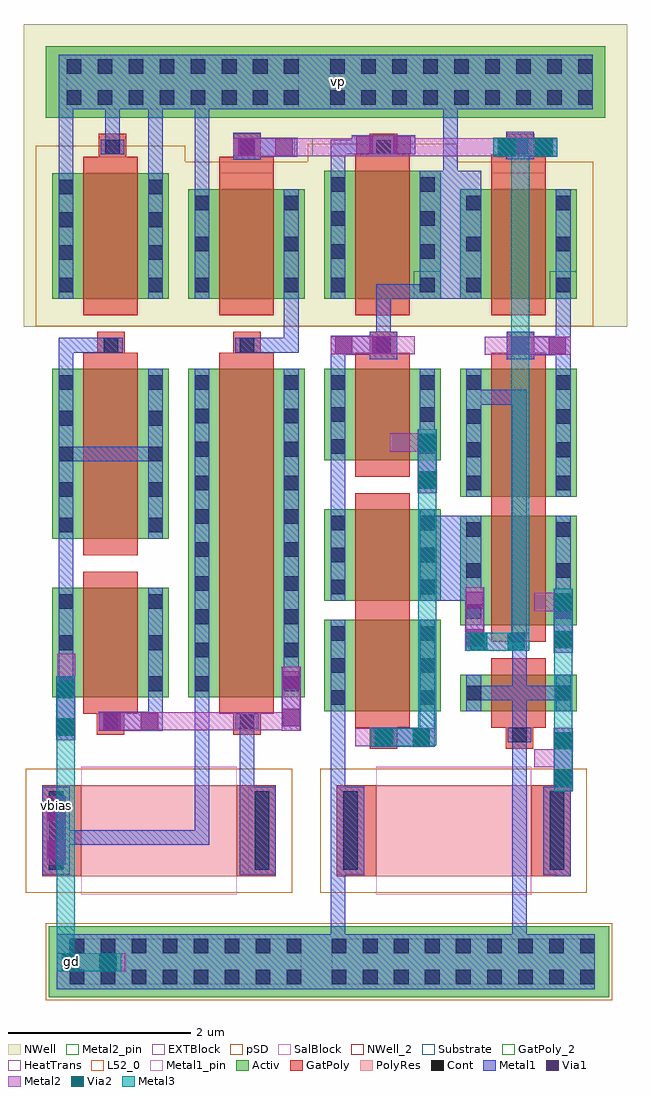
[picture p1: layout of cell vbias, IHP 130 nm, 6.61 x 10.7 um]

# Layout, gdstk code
from math import pi, radians
import gdstk
lib = gdstk.Library(unit=1e-6, precision=1e-09)
def R(c, l, rs):  # rectangles x0, y0, x1, y1
    for r in rs: c.add(gdstk.rectangle(r[:2], r[2:], *l))
def A(c, l, x, y, w, h, nx, ny, dx, dy):  # array of equal rectangles
    R(c, l, [(x+i*dx, y+j*dy, x+i*dx+w, y+j*dy+h) for i in range(nx) for j in range(ny)])
Activ = (1, 0)
GatPoly = (5, 0)
GatPoly_2 = (5, 2)
Cont = (6, 0)
Metal1 = (8, 0)
Metal1_pin = (8, 2)
Metal2 = (10, 0)
Metal2_pin = (10, 2)
pSD = (14, 0)
Via1 = (19, 0)
SalBlock = (28, 0)
Via2 = (29, 0)
Metal3 = (30, 0)
NWell = (31, 0)
NWell_2 = (31, 2)
Substrate = (40, 0)
HeatTrans = (51, 0)
L52_0 = (52, 0)
EXTBlock = (111, 0)
PolyRes = (128, 0)

via_64 = lib.new_cell('Via$64')
R(via_64, GatPoly, [(-0.15,-0.15,0.15,0.15)])
R(via_64, Cont, [(-0.08,-0.08,0.08,0.08)])
R(via_64, Metal1, [(-0.13,-0.08,0.13,0.08)])

pmos_10 = lib.new_cell('pmos$10')
R(pmos_10, Activ, [(0,0,0.3,0.3), (0,0,1.28,1.375), (0.98,0,1.28,0.3)])
R(pmos_10, GatPoly, [(0.34,-0.18,0.94,1.555), (0.34,-0.18,0.94,1.555)])
A(pmos_10, Cont, 0.07, 0.425, 0.16, 0.16, 1, 3, 0, 0.36)
A(pmos_10, Cont, 1.05, 0.425, 0.16, 0.16, 1, 3, 0, 0.36)
R(pmos_10, Cont, [(0.07,0.07,0.23,0.23), (1.05,0.07,1.21,0.23)])
R(pmos_10, Metal1, [(0.07,0,0.23,1.375), (0.07,0,0.23,1.375), (1.05,0,1.21,1.375), (1.05,0,1.21,1.375)])
R(pmos_10, pSD, [(-0.18,-0.3,1.46,1.675)])
R(pmos_10, NWell, [(-0.31,-0.31,1.59,1.685)])
R(pmos_10, HeatTrans, [(0.34,-0.18,0.94,1.555)])
pmos_10.add(gdstk.Label('pmos', (0.64,0.688), layer=63, texttype=0))
pmos_10.add(gdstk.Label('pmos', (0.64,0.688), layer=51, texttype=0))

nmos_18 = lib.new_cell('nmos$18')
R(nmos_18, Activ, [(0,0,0.3,0.3), (0,0,1.28,1.86), (0.98,0,1.28,0.3)])
R(nmos_18, GatPoly, [(0.34,-0.18,0.94,2.04)])
R(nmos_18, GatPoly_2, [(0.34,-0.18,0.94,2.04)])
A(nmos_18, Cont, 0.07, 0.07, 0.16, 0.16, 1, 5, 0, 0.39)
A(nmos_18, Cont, 1.05, 0.07, 0.16, 0.16, 1, 5, 0, 0.39)
R(nmos_18, Metal1, [(0.07,0,0.23,1.86), (1.05,0,1.21,1.86)])
R(nmos_18, Metal1_pin, [(0.07,0,0.23,1.86), (1.05,0,1.21,1.86)])
R(nmos_18, HeatTrans, [(0.34,-0.18,0.94,2.04)])
nmos_18.add(gdstk.Label('nmos', (0.64,0.93), layer=63, texttype=0))
nmos_18.add(gdstk.Label('nmos', (0.64,0.93), layer=51, texttype=0))

via_1_1 = lib.new_cell('Via$1$1')
R(via_1_1, Metal1, [(-0.35,-0.105,0.35,0.105)])
R(via_1_1, Metal2, [(-0.35,-0.1,0.35,0.1)])
R(via_1_1, Via1, [(-0.3,-0.095,-0.11,0.095), (0.11,-0.095,0.3,0.095)])

via_27_1 = lib.new_cell('Via$27$1')
R(via_27_1, Metal1, [(-0.35,-0.105,0.35,0.105)])
R(via_27_1, Metal2, [(-0.35,-0.1,0.35,0.1)])
R(via_27_1, Via1, [(-0.3,-0.095,-0.11,0.095), (0.11,-0.095,0.3,0.095)])

via_23_1 = lib.new_cell('Via$23$1')
R(via_23_1, Metal2, [(-0.35,-0.1,0.35,0.1)])
R(via_23_1, Via2, [(-0.3,-0.095,-0.11,0.095), (0.11,-0.095,0.3,0.095)])
R(via_23_1, Metal3, [(-0.35,-0.1,0.35,0.1)])

via_24_2 = lib.new_cell('Via$24$2')
R(via_24_2, Metal1, [(-0.35,-0.105,0.35,0.105)])
R(via_24_2, Metal2, [(-0.35,-0.1,0.35,0.1)])
R(via_24_2, Via1, [(-0.3,-0.095,-0.11,0.095), (0.11,-0.095,0.3,0.095)])

via_26_1 = lib.new_cell('Via$26$1')
R(via_26_1, Metal1, [(-0.35,-0.105,0.35,0.105)])
R(via_26_1, Metal2, [(-0.35,-0.1,0.35,0.1)])
R(via_26_1, Via1, [(-0.3,-0.095,-0.11,0.095), (0.11,-0.095,0.3,0.095)])

via_25_1 = lib.new_cell('Via$25$1')
R(via_25_1, Metal1, [(-0.35,-0.105,0.35,0.105)])
R(via_25_1, Metal2, [(-0.35,-0.1,0.35,0.1)])
R(via_25_1, Via1, [(-0.3,-0.095,-0.11,0.095), (0.11,-0.095,0.3,0.095)])

ntap1_3 = lib.new_cell('ntap1$3')
R(ntap1_3, Activ, [(0,0,3,0.78)])
A(ntap1_3, Cont, 0.23, 0.14, 0.16, 0.16, 8, 2, 0.34, 0.34)
R(ntap1_3, Metal1, [(0.23,0.09,2.77,0.69)])
R(ntap1_3, Metal1_pin, [(0.23,0.09,2.77,0.69), (0.23,0.14,2.77,0.64)])
R(ntap1_3, NWell, [(-0.24,-0.24,3.24,1.02), (0,0,3,0.78)])
R(ntap1_3, NWell_2, [(0,0,3,0.78)])
ntap1_3.add(gdstk.Label('well', (1.5,0.01), layer=63, texttype=0))
ntap1_3.add(gdstk.Label('well', (1.5,0.01), layer=31, texttype=0))

pmos_2_1 = lib.new_cell('pmos$2$1')
R(pmos_2_1, Activ, [(0,0,0.3,0.3), (0,0,1.28,1.2), (0.98,0,1.28,0.3)])
R(pmos_2_1, GatPoly, [(0.34,-0.18,0.94,1.38), (0.34,-0.18,0.94,1.38)])
A(pmos_2_1, Cont, 0.07, 0.07, 0.16, 0.16, 1, 3, 0, 0.45)
A(pmos_2_1, Cont, 1.05, 0.07, 0.16, 0.16, 1, 3, 0, 0.45)
R(pmos_2_1, Metal1, [(0.07,0,0.23,1.2), (0.07,0,0.23,1.2), (1.05,0,1.21,1.2), (1.05,0,1.21,1.2)])
R(pmos_2_1, pSD, [(-0.18,-0.3,1.46,1.5)])
R(pmos_2_1, NWell, [(-0.31,-0.31,1.59,1.51)])
R(pmos_2_1, HeatTrans, [(0.34,-0.18,0.94,1.38)])
pmos_2_1.add(gdstk.Label('pmos', (0.64,0.6), layer=63, texttype=0))
pmos_2_1.add(gdstk.Label('pmos', (0.64,0.6), layer=51, texttype=0))

ptap1_5 = lib.new_cell('ptap1$5')
R(ptap1_5, Activ, [(0,0,3,0.78)])
A(ptap1_5, Cont, 0.23, 0.14, 0.16, 0.16, 8, 2, 0.34, 0.34)
R(ptap1_5, Metal1, [(0.23,0.09,2.77,0.69), (0.23,0.14,2.77,0.64)])
R(ptap1_5, Metal1_pin, [(0.23,0.14,2.77,0.64)])
R(ptap1_5, pSD, [(-0.03,-0.03,3.03,0.81)])
R(ptap1_5, Substrate, [(0,0,3,0.78)])
ptap1_5.add(gdstk.Label('sub!', (1.5,0.01), layer=63, texttype=0))
ptap1_5.add(gdstk.Label('sub!', (1.5,0.01), layer=40, texttype=0))

rppd_2 = lib.new_cell('rppd$2')
R(rppd_2, GatPoly, [(0,-0.43,1,-0.2), (0,-0.2,1,0), (0,1.7,1,1.9), (0,1.9,1,2.13)])
R(rppd_2, Cont, [(0.07,-0.36,0.93,-0.2), (0.07,1.9,0.93,2.06)])
R(rppd_2, Metal1, [(0.02,-0.43,0.98,-0.13), (0.02,1.83,0.98,2.13)])
R(rppd_2, Metal1_pin, [(0.02,-0.43,0.98,-0.13), (0.02,1.83,0.98,2.13)])
R(rppd_2, pSD, [(-0.18,-0.61,1.18,0), (-0.18,0,1.18,1.7), (-0.18,1.7,1.18,2.31)])
R(rppd_2, SalBlock, [(-0.2,0,1.2,1.7)])
R(rppd_2, L52_0, [(0,0,1,1.7)])
R(rppd_2, EXTBlock, [(-0.18,-0.61,1.18,0), (-0.2,0,1.2,1.7), (-0.18,1.7,1.18,2.31)])
R(rppd_2, PolyRes, [(0,0,1,1.7)])
rppd_2.add(gdstk.Label('rppd r=509.364', (0.5,0.85), layer=63, texttype=0))
rppd_2.add(gdstk.Label('rppd', (0.5,0.85), layer=52, texttype=0))

nmos_4_1 = lib.new_cell('nmos$4$1')
R(nmos_4_1, Activ, [(0,0,0.3,0.3), (0,0,1.28,1.2), (0.98,0,1.28,0.3)])
R(nmos_4_1, GatPoly, [(0.34,-0.18,0.94,1.38)])
R(nmos_4_1, GatPoly_2, [(0.34,-0.18,0.94,1.38)])
A(nmos_4_1, Cont, 0.07, 0.07, 0.16, 0.16, 1, 3, 0, 0.45)
A(nmos_4_1, Cont, 1.05, 0.07, 0.16, 0.16, 1, 3, 0, 0.45)
R(nmos_4_1, Metal1, [(0.07,0,0.23,1.2), (1.05,0,1.21,1.2)])
R(nmos_4_1, Metal1_pin, [(0.07,0,0.23,1.2), (1.05,0,1.21,1.2)])
R(nmos_4_1, HeatTrans, [(0.34,-0.18,0.94,1.38)])
nmos_4_1.add(gdstk.Label('nmos', (0.64,0.6), layer=63, texttype=0))
nmos_4_1.add(gdstk.Label('nmos', (0.64,0.6), layer=51, texttype=0))

nmos_5_1 = lib.new_cell('nmos$5$1')
R(nmos_5_1, Activ, [(0,0,0.3,0.3), (0,0,1.28,3.6), (0.98,0,1.28,0.3)])
R(nmos_5_1, GatPoly, [(0.34,-0.18,0.94,3.78)])
R(nmos_5_1, GatPoly_2, [(0.34,-0.18,0.94,3.78)])
A(nmos_5_1, Cont, 0.07, 0.07, 0.16, 0.16, 1, 3, 0, 0.365)
A(nmos_5_1, Cont, 1.05, 0.07, 0.16, 0.16, 1, 3, 0, 0.365)
A(nmos_5_1, Cont, 0.07, 1.17, 0.16, 0.16, 1, 3, 0, 0.365)
A(nmos_5_1, Cont, 1.05, 1.17, 0.16, 0.16, 1, 3, 0, 0.365)
A(nmos_5_1, Cont, 0.07, 2.27, 0.16, 0.16, 1, 3, 0, 0.365)
A(nmos_5_1, Cont, 1.05, 2.27, 0.16, 0.16, 1, 3, 0, 0.365)
R(nmos_5_1, Cont, [(0.07,3.37,0.23,3.53), (1.05,3.37,1.21,3.53)])
R(nmos_5_1, Metal1, [(0.07,0,0.23,3.6), (1.05,0,1.21,3.6)])
R(nmos_5_1, Metal1_pin, [(0.07,0,0.23,3.6), (1.05,0,1.21,3.6)])
R(nmos_5_1, HeatTrans, [(0.34,-0.18,0.94,3.78)])
nmos_5_1.add(gdstk.Label('nmos', (0.64,1.8), layer=63, texttype=0))
nmos_5_1.add(gdstk.Label('nmos', (0.64,1.8), layer=51, texttype=0))

via_16 = lib.new_cell('Via$16')
R(via_16, Metal2, [(-0.35,-0.1,0.35,0.1)])
R(via_16, Via2, [(-0.3,-0.095,-0.11,0.095), (0.11,-0.095,0.3,0.095)])
R(via_16, Metal3, [(-0.35,-0.1,0.35,0.1)])

via_17 = lib.new_cell('Via$17')
R(via_17, Metal1, [(-0.35,-0.105,0.35,0.105)])
R(via_17, Metal2, [(-0.35,-0.1,0.35,0.1)])
R(via_17, Via1, [(-0.3,-0.095,-0.11,0.095), (0.11,-0.095,0.3,0.095)])

nmos_6 = lib.new_cell('nmos$6')
R(nmos_6, Activ, [(0,0,0.3,0.3), (0,0,1.28,1.2), (0.98,0,1.28,0.3)])
R(nmos_6, GatPoly, [(0.34,-0.18,0.94,1.38)])
R(nmos_6, GatPoly_2, [(0.34,-0.18,0.94,1.38)])
A(nmos_6, Cont, 0.07, 0.07, 0.16, 0.16, 1, 3, 0, 0.45)
A(nmos_6, Cont, 1.05, 0.07, 0.16, 0.16, 1, 3, 0, 0.45)
R(nmos_6, Metal1, [(0.07,0,0.23,1.2), (1.05,0,1.21,1.2)])
R(nmos_6, Metal1_pin, [(0.07,0,0.23,1.2), (1.05,0,1.21,1.2)])
R(nmos_6, HeatTrans, [(0.34,-0.18,0.94,1.38)])
nmos_6.add(gdstk.Label('nmos', (0.64,0.6), layer=63, texttype=0))
nmos_6.add(gdstk.Label('nmos', (0.64,0.6), layer=51, texttype=0))

via_18 = lib.new_cell('Via$18')
R(via_18, Metal1, [(-0.35,-0.105,0.35,0.105)])
R(via_18, Metal2, [(-0.35,-0.1,0.35,0.1)])
R(via_18, Via1, [(-0.3,-0.095,-0.11,0.095), (0.11,-0.095,0.3,0.095)])

via_19 = lib.new_cell('Via$19')
R(via_19, Metal1, [(-0.35,-0.105,0.35,0.105)])
R(via_19, Metal2, [(-0.35,-0.1,0.35,0.1)])
R(via_19, Via1, [(-0.3,-0.095,-0.11,0.095), (0.11,-0.095,0.3,0.095)])

pmos_1 = lib.new_cell('pmos$1')
R(pmos_1, Activ, [(0,0,0.3,0.3), (0,0,1.28,1.4), (0.98,0,1.28,0.3)])
R(pmos_1, GatPoly, [(0.34,-0.18,0.94,1.58), (0.34,-0.18,0.94,1.58)])
A(pmos_1, Cont, 0.07, 0.07, 0.16, 0.16, 1, 3, 0, 0.365)
A(pmos_1, Cont, 1.05, 0.07, 0.16, 0.16, 1, 3, 0, 0.365)
R(pmos_1, Cont, [(0.07,1.17,0.23,1.33), (1.05,1.17,1.21,1.33)])
R(pmos_1, Metal1, [(0.07,0,0.23,1.4), (0.07,0,0.23,1.4), (1.05,0,1.21,1.4), (1.05,0,1.21,1.4)])
R(pmos_1, pSD, [(-0.18,-0.3,1.46,1.7)])
R(pmos_1, NWell, [(-0.31,-0.31,1.59,1.71)])
R(pmos_1, Substrate, [(0.98,0,1.28,0.3)])
R(pmos_1, HeatTrans, [(0.34,-0.18,0.94,1.58)])
pmos_1.add(gdstk.Label('pmos', (0.64,0.7), layer=63, texttype=0))
pmos_1.add(gdstk.Label('pmos', (0.64,0.7), layer=51, texttype=0))

via_11 = lib.new_cell('Via$11')
R(via_11, Metal1, [(-0.35,-0.105,0.35,0.105)])
R(via_11, Metal2, [(-0.35,-0.1,0.35,0.1)])
R(via_11, Via1, [(-0.3,-0.095,-0.11,0.095), (0.11,-0.095,0.3,0.095)])

nmos_1 = lib.new_cell('nmos$1')
R(nmos_1, Activ, [(0,0,0.3,0.3), (0,0,1.28,1), (0.98,0,1.28,0.3)])
R(nmos_1, GatPoly, [(0.34,-0.18,0.94,1.18)])
R(nmos_1, GatPoly_2, [(0.34,-0.18,0.94,1.18)])
A(nmos_1, Cont, 0.07, 0.07, 0.16, 0.16, 1, 3, 0, 0.35)
A(nmos_1, Cont, 1.05, 0.07, 0.16, 0.16, 1, 3, 0, 0.35)
R(nmos_1, Metal1, [(0.07,0,0.23,1), (1.05,0,1.21,1)])
R(nmos_1, Metal1_pin, [(0.07,0,0.23,1), (1.05,0,1.21,1)])
R(nmos_1, HeatTrans, [(0.34,-0.18,0.94,1.18)])
nmos_1.add(gdstk.Label('nmos', (0.64,0.5), layer=63, texttype=0))
nmos_1.add(gdstk.Label('nmos', (0.64,0.5), layer=51, texttype=0))

via_14 = lib.new_cell('Via$14')
R(via_14, Metal2, [(-0.35,-0.1,0.35,0.1)])
R(via_14, Via2, [(-0.3,-0.095,-0.11,0.095), (0.11,-0.095,0.3,0.095)])
R(via_14, Metal3, [(-0.35,-0.1,0.35,0.1)])

via_21 = lib.new_cell('Via$21')
R(via_21, Metal1, [(-0.35,-0.105,0.35,0.105)])
R(via_21, Metal2, [(-0.35,-0.1,0.35,0.1)])
R(via_21, Via1, [(-0.3,-0.095,-0.11,0.095), (0.11,-0.095,0.3,0.095)])

pmos_3 = lib.new_cell('pmos$3')
R(pmos_3, Activ, [(0,0,0.3,0.3), (0,0,1.28,1.2), (0.98,0,1.28,0.3)])
R(pmos_3, GatPoly, [(0.34,-0.18,0.94,1.38), (0.34,-0.18,0.94,1.38)])
A(pmos_3, Cont, 0.07, 0.07, 0.16, 0.16, 1, 3, 0, 0.45)
A(pmos_3, Cont, 1.05, 0.07, 0.16, 0.16, 1, 3, 0, 0.45)
R(pmos_3, Metal1, [(0.07,0,0.23,1.2), (0.07,0,0.23,1.2), (1.05,0,1.21,1.2), (1.05,0,1.21,1.2)])
R(pmos_3, pSD, [(-0.18,-0.3,1.46,1.5)])
R(pmos_3, NWell, [(-0.31,-0.31,1.59,1.51)])
R(pmos_3, Substrate, [(0.98,0,1.28,0.3)])
R(pmos_3, HeatTrans, [(0.34,-0.18,0.94,1.38)])
pmos_3.add(gdstk.Label('pmos', (0.64,0.6), layer=63, texttype=0))
pmos_3.add(gdstk.Label('pmos', (0.64,0.6), layer=51, texttype=0))

ptap1_1 = lib.new_cell('ptap1$1')
R(ptap1_1, Activ, [(0,0,3.2,0.78)])
A(ptap1_1, Cont, 0.16, 0.14, 0.16, 0.16, 9, 2, 0.34, 0.34)
R(ptap1_1, Metal1, [(0.16,0.09,3.04,0.69), (0.16,0.14,3.04,0.64)])
R(ptap1_1, Metal1_pin, [(0.16,0.14,3.04,0.64)])
R(ptap1_1, pSD, [(-0.03,-0.03,3.23,0.81)])
R(ptap1_1, Substrate, [(0,0,3.2,0.78)])
ptap1_1.add(gdstk.Label('sub!', (1.6,0.01), layer=63, texttype=0))
ptap1_1.add(gdstk.Label('sub!', (1.6,0.01), layer=40, texttype=0))

nmos_2 = lib.new_cell('nmos$2')
R(nmos_2, Activ, [(0,0,0.3,0.3), (0,0,1.28,1.4), (0.98,0,1.28,0.3)])
R(nmos_2, GatPoly, [(0.34,-0.18,0.94,1.58)])
R(nmos_2, GatPoly_2, [(0.34,-0.18,0.94,1.58)])
A(nmos_2, Cont, 0.07, 0.07, 0.16, 0.16, 1, 3, 0, 0.365)
A(nmos_2, Cont, 1.05, 0.07, 0.16, 0.16, 1, 3, 0, 0.365)
R(nmos_2, Cont, [(0.07,1.17,0.23,1.33), (1.05,1.17,1.21,1.33)])
R(nmos_2, Metal1, [(0.07,0,0.23,1.4), (1.05,0,1.21,1.4)])
R(nmos_2, Metal1_pin, [(0.07,0,0.23,1.4), (1.05,0,1.21,1.4)])
R(nmos_2, HeatTrans, [(0.34,-0.18,0.94,1.58)])
nmos_2.add(gdstk.Label('nmos', (0.64,0.7), layer=63, texttype=0))
nmos_2.add(gdstk.Label('nmos', (0.64,0.7), layer=51, texttype=0))

via_12 = lib.new_cell('Via$12')
R(via_12, Metal1, [(-0.35,-0.105,0.35,0.105)])
R(via_12, Metal2, [(-0.35,-0.1,0.35,0.1)])
R(via_12, Via1, [(-0.3,-0.095,-0.11,0.095), (0.11,-0.095,0.3,0.095)])

via_2 = lib.new_cell('Via$2')
R(via_2, GatPoly, [(-0.15,-0.15,0.15,0.15)])
R(via_2, Cont, [(-0.08,-0.08,0.08,0.08)])
R(via_2, Metal1, [(-0.13,-0.08,0.13,0.08)])

nmos_3 = lib.new_cell('nmos$3')
R(nmos_3, Activ, [(0,0,0.3,0.3), (0,0,1.28,0.4), (0.98,0,1.28,0.3)])
R(nmos_3, GatPoly, [(0.34,-0.18,0.94,0.58)])
R(nmos_3, GatPoly_2, [(0.34,-0.18,0.94,0.58)])
R(nmos_3, Cont, [(0.07,0.12,0.23,0.28), (1.05,0.12,1.21,0.28)])
R(nmos_3, Metal1, [(0.07,0,0.23,0.4), (1.05,0,1.21,0.4)])
R(nmos_3, Metal1_pin, [(0.07,0,0.23,0.4), (1.05,0,1.21,0.4)])
R(nmos_3, HeatTrans, [(0.34,-0.18,0.94,0.58)])
nmos_3.add(gdstk.Label('nmos', (0.64,0.2), layer=63, texttype=0))
nmos_3.add(gdstk.Label('nmos', (0.64,0.2), layer=51, texttype=0))

via_15 = lib.new_cell('Via$15')
R(via_15, Metal1, [(-0.35,-0.105,0.35,0.105)])
R(via_15, Metal2, [(-0.35,-0.1,0.35,0.1)])
R(via_15, Via1, [(-0.3,-0.095,-0.11,0.095), (0.11,-0.095,0.3,0.095)])

rppd_1 = lib.new_cell('rppd$1')
R(rppd_1, GatPoly, [(0,-0.43,1,-0.2), (0,-0.2,1,0), (0,1.7,1,1.9), (0,1.9,1,2.13)])
R(rppd_1, Cont, [(0.07,-0.36,0.93,-0.2), (0.07,1.9,0.93,2.06)])
R(rppd_1, Metal1, [(0.02,-0.43,0.98,-0.13), (0.02,1.83,0.98,2.13)])
R(rppd_1, Metal1_pin, [(0.02,-0.43,0.98,-0.13), (0.02,1.83,0.98,2.13)])
R(rppd_1, pSD, [(-0.18,-0.61,1.18,0), (-0.18,0,1.18,1.7), (-0.18,1.7,1.18,2.31)])
R(rppd_1, SalBlock, [(-0.2,0,1.2,1.7)])
R(rppd_1, L52_0, [(0,0,1,1.7)])
R(rppd_1, EXTBlock, [(-0.18,-0.61,1.18,0), (-0.2,0,1.2,1.7), (-0.18,1.7,1.18,2.31)])
R(rppd_1, PolyRes, [(0,0,1,1.7)])
rppd_1.add(gdstk.Label('rppd r=509.364', (0.5,0.85), layer=63, texttype=0))
rppd_1.add(gdstk.Label('rppd', (0.5,0.85), layer=52, texttype=0))

ntap1_1 = lib.new_cell('ntap1$1')
R(ntap1_1, Activ, [(0,0,3.15,0.78)])
A(ntap1_1, Cont, 0.135, 0.14, 0.16, 0.16, 9, 2, 0.34, 0.34)
R(ntap1_1, Metal1, [(0.135,0.09,3.015,0.69)])
R(ntap1_1, Metal1_pin, [(0.135,0.09,3.015,0.69), (0.135,0.14,3.015,0.64)])
R(ntap1_1, NWell, [(-0.24,-0.24,3.39,1.02), (0,0,3.15,0.78)])
R(ntap1_1, NWell_2, [(0,0,3.15,0.78)])
ntap1_1.add(gdstk.Label('well', (1.575,0.01), layer=63, texttype=0))
ntap1_1.add(gdstk.Label('well', (1.575,0.01), layer=31, texttype=0))

via_20 = lib.new_cell('Via$20')
R(via_20, Metal1, [(-0.35,-0.105,0.35,0.105)])
R(via_20, Metal2, [(-0.35,-0.1,0.35,0.1)])
R(via_20, Via1, [(-0.3,-0.095,-0.11,0.095), (0.11,-0.095,0.3,0.095)])

curr_source = lib.new_cell('curr_source')
R(curr_source, GatPoly, [(3.695,6.615,4.295,6.815)])
R(curr_source, Metal1, [(1.935,-1.07,2.305,-0.115), (2.915,1.925,3.585,2.855), (2.365,4.57,2.665,4.87), (3.865,4.57,4.165,4.87), (2.915,5.235,3.585,6.635), (3.86,6.765,4.16,7.065)])
R(curr_source, Metal1_pin, [(1.95,-2.14,2.15,-1.94), (1.95,7.545,2.08,7.675)])
R(curr_source, Metal2, [(3.41,1.375,3.65,1.575)])
R(curr_source, Metal2_pin, [(1.54,6.795,1.74,6.995)])
R(curr_source, NWell, [(1.555,4.925,5.185,8.245)])
curr_source.add(gdstk.FlexPath([(4.485,1.88),(4.485,1.705)], 0.16, ends="flush", simple_path=True, layer=8, datatype=0))  # Metal1
curr_source.add(gdstk.FlexPath([(2.365,6.92),(2.515,6.92)], 0.16, ends="flush", simple_path=True, layer=8, datatype=0))  # Metal1
curr_source.add(gdstk.FlexPath([(4.07,6.895),(4.07,6.895)], 0.16, ends="flush", simple_path=True, layer=8, datatype=0))  # Metal1
curr_source.add(gdstk.FlexPath([(2.725,0.43),(2.725,0.43)], 0.16, ends="flush", simple_path=True, layer=8, datatype=0))  # Metal1
curr_source.add(gdstk.FlexPath([(2.015,-1.53),(2.015,-2.33)], 0.16, ends="flush", simple_path=True, layer=8, datatype=0))  # Metal1
curr_source.add(gdstk.FlexPath([(4.005,-1.68),(4.005,-2.33)], 0.16, ends="flush", simple_path=True, layer=8, datatype=0))  # Metal1
curr_source.add(gdstk.FlexPath([(4.485,0.335),(4.485,-1.095)], 0.16, ends="flush", simple_path=True, layer=8, datatype=0))  # Metal1
curr_source.add(gdstk.FlexPath([(3.995,0.915),(3.585,0.915),(3.585,0.915)], 0.16, ends="flush", simple_path=True, layer=8, datatype=0))  # Metal1
curr_source.add(gdstk.FlexPath([(3.995,0.915),(4.405,0.915)], 0.16, ends="flush", simple_path=True, layer=8, datatype=0))  # Metal1
curr_source.add(gdstk.FlexPath([(2.015,2.925),(2.015,3.465)], 0.16, ends="flush", simple_path=True, layer=8, datatype=0))  # Metal1
curr_source.add(gdstk.FlexPath([(4.005,-0.815),(4.005,-1.775)], 0.16, ends="flush", simple_path=True, layer=8, datatype=0))  # Metal1
curr_source.add(gdstk.FlexPath([(2.015,4.465),(2.015,4.62)], 0.16, ends="flush", simple_path=True, layer=8, datatype=0))  # Metal1
curr_source.add(gdstk.FlexPath([(2.645,0.455),(3.075,0.455)], 0.16, ends="flush", simple_path=True, layer=8, datatype=0))  # Metal1
curr_source.add(gdstk.FlexPath([(3.25,6.635),(3.25,7.315)], 0.16, ends="flush", simple_path=True, layer=8, datatype=0))  # Metal1
curr_source.add(gdstk.FlexPath([(2.995,0.715),(2.995,0.375)], 0.16, ends="flush", simple_path=True, layer=8, datatype=0))  # Metal1
curr_source.add(gdstk.FlexPath([(4.485,4.72),(4.485,4.72)], 0.16, ends="flush", simple_path=True, layer=8, datatype=0))  # Metal1
curr_source.add(gdstk.FlexPath([(2.515,4.725),(2.515,4.725)], 0.16, ends="flush", simple_path=True, layer=8, datatype=0))  # Metal1
curr_source.add(gdstk.FlexPath([(2.015,6.635),(2.015,6.885),(2.015,6.89),(2.015,6.895),(2.385,6.895),(2.385,6.895),(2.385,6.895)], 0.16, ends="flush", simple_path=True, layer=8, datatype=0))  # Metal1
curr_source.add(gdstk.FlexPath([(2.515,5.15),(2.515,5.395)], 0.16, ends="flush", simple_path=True, layer=8, datatype=0))  # Metal1
curr_source.add(gdstk.FlexPath([(4.485,5.235),(4.485,4.48)], 0.16, ends="flush", simple_path=True, layer=8, datatype=0))  # Metal1
curr_source.add(gdstk.FlexPath([(4.485,4.49),(4.485,4.465)], 0.16, ends="flush", simple_path=True, layer=8, datatype=0))  # Metal1
curr_source.add(gdstk.FlexPath([(2.515,4.805),(2.515,5.2)], 0.16, ends="flush", simple_path=True, layer=8, datatype=0))  # Metal1
curr_source.add(gdstk.FlexPath([(3.575,4.155),(4.005,4.155),(4.005,-0.965)], 0.16, ends="flush", simple_path=True, layer=8, datatype=0))  # Metal1
curr_source.add(gdstk.FlexPath([(2.015,0.715),(2.015,-1.725),(2.015,-1.725)], 0.16, ends="flush", simple_path=True, layer=8, datatype=0))  # Metal1
curr_source.add(gdstk.FlexPath([(2.915,5.315),(2.435,5.315)], 0.16, ends="flush", simple_path=True, layer=8, datatype=0))  # Metal1
curr_source.add(gdstk.FlexPath([(3.505,1.655),(3.505,1.575)], 0.16, ends="flush", simple_path=True, layer=8, datatype=0))  # Metal1
curr_source.add(gdstk.FlexPath([(2.995,3.455),(2.995,3.455)], 0.2, ends="flush", simple_path=True, layer=10, datatype=0))  # Metal2
curr_source.add(gdstk.FlexPath([(2.995,3.66),(2.585,3.66)], 0.2, ends="flush", simple_path=True, layer=10, datatype=0))  # Metal2
curr_source.add(gdstk.FlexPath([(4.565,4.72),(3.625,4.72)], 0.2, ends="flush", simple_path=True, layer=10, datatype=0))  # Metal2
curr_source.add(gdstk.FlexPath([(4.485,1.705),(4.485,1.705)], 0.2, ends="flush", simple_path=True, layer=10, datatype=0))  # Metal2
curr_source.add(gdstk.FlexPath([(4.485,0.185),(4.485,0.185)], 0.2, ends="flush", simple_path=True, layer=10, datatype=0))  # Metal2
curr_source.add(gdstk.FlexPath([(4.485,0.2),(4.17,0.2)], 0.2, ends="flush", simple_path=True, layer=10, datatype=0))  # Metal2
curr_source.add(gdstk.FlexPath([(4.485,1.91),(4.165,1.91)], 0.2, ends="flush", simple_path=True, layer=10, datatype=0))  # Metal2
curr_source.add(gdstk.FlexPath([(4.07,6.895),(4.07,6.895)], 0.16, ends="flush", simple_path=True, layer=10, datatype=0))  # Metal2
curr_source.add(gdstk.FlexPath([(2.725,0.43),(2.725,0.43)], 0.2, ends="flush", simple_path=True, layer=10, datatype=0))  # Metal2
curr_source.add(gdstk.FlexPath([(3.065,0.43),(2.205,0.43)], 0.2, ends="flush", simple_path=True, layer=10, datatype=0))  # Metal2
curr_source.add(gdstk.FlexPath([(2.515,4.725),(2.86,4.725)], 0.2, ends="flush", simple_path=True, layer=10, datatype=0))  # Metal2
curr_source.add(gdstk.FlexPath([(4.015,1.475),(3.65,1.475)], 0.2, ends="flush", simple_path=True, layer=10, datatype=0))  # Metal2
curr_source.add(gdstk.FlexPath([(2.515,6.895),(1.54,6.895)], 0.2, ends="flush", simple_path=True, layer=10, datatype=0))  # Metal2
curr_source.add(gdstk.FlexPath([(2.515,6.895),(4.015,6.895)], 0.2, ends="flush", simple_path=True, layer=10, datatype=0))  # Metal2
curr_source.add(gdstk.FlexPath([(2.995,3.535),(2.995,0.335)], 0.2, ends="flush", simple_path=True, layer=30, datatype=0))  # Metal3
curr_source.add(gdstk.FlexPath([(4.485,1.48),(4.485,0.335)], 0.2, ends="flush", simple_path=True, layer=30, datatype=0))  # Metal3
curr_source.add(gdstk.FlexPath([(4.015,1.58),(4.015,1.475)], 0.2, ends="flush", simple_path=True, layer=30, datatype=0))  # Metal3
curr_source.add(gdstk.FlexPath([(4.015,6.895),(4.015,1.58)], 0.2, ends="flush", simple_path=True, layer=30, datatype=0))  # Metal3
curr_source.add(gdstk.Reference(via_16, (2.725,0.43)))
curr_source.add(gdstk.Reference(via_16, (4.07,6.895)))
curr_source.add(gdstk.Reference(via_17, (4.07,6.895)))
curr_source.add(gdstk.Reference(nmos_6, (3.355,1.655)))
curr_source.add(gdstk.Reference(via_18, (2.515,6.92)))
curr_source.add(gdstk.Reference(via_19, (2.725,0.43)))
curr_source.add(gdstk.Reference(pmos_1, (1.865,5.235)))
curr_source.add(gdstk.Reference(via_11, (4.215,4.72)))
curr_source.add(gdstk.Reference(nmos_1, (1.865,1.925)))
curr_source.add(gdstk.Reference(via_14, (3.765,1.475)))
curr_source.add(gdstk.Reference(via_21, (2.285,4.725)))
curr_source.add(gdstk.Reference(pmos_3, (3.355,5.235)))
curr_source.add(gdstk.Reference(ptap1_1, (1.79,-2.42)))
curr_source.add(gdstk.Reference(nmos_2, (3.355,3.065)))
curr_source.add(gdstk.Reference(via_12, (3.515,1.725), rotation=3*pi/2))
curr_source.add(gdstk.Reference(nmos_1, (1.865,0.715)))
curr_source.add(gdstk.Reference(nmos_1, (1.865,3.465)))
curr_source.add(gdstk.Reference(via_2, (2.515,0.455)))
curr_source.add(gdstk.Reference(via_2, (2.515,4.725)))
curr_source.add(gdstk.Reference(via_2, (4.015,4.725)))
curr_source.add(gdstk.Reference(via_2, (2.515,6.895)))
curr_source.add(gdstk.Reference(via_2, (4.015,6.895)))
curr_source.add(gdstk.Reference(nmos_3, (3.355,0.715)))
curr_source.add(gdstk.Reference(via_2, (4.005,0.455)))
curr_source.add(gdstk.Reference(via_15, (4.485,1.705), rotation=3*pi/2))
curr_source.add(gdstk.Reference(via_16, (4.485,1.705), rotation=3*pi/2))
curr_source.add(gdstk.Reference(via_16, (4.485,0.185), rotation=3*pi/2))
curr_source.add(gdstk.Reference(via_15, (4.485,0.185), rotation=3*pi/2))
curr_source.add(gdstk.Reference(rppd_1, (2.435,-0.095), rotation=3*pi/2))
curr_source.add(gdstk.Reference(ntap1_1, (1.795,7.22)))
curr_source.add(gdstk.Reference(via_20, (2.995,3.455), rotation=3*pi/2))
curr_source.add(gdstk.Reference(via_16, (2.995,3.455), rotation=3*pi/2))
curr_source.add(gdstk.Label('gd', (2.05,-2.04), layer=8, texttype=25))
curr_source.add(gdstk.Label('vp', (1.99,7.61), layer=8, texttype=25))
curr_source.add(gdstk.Label('iref', (1.567,6.897), layer=10, texttype=25))

vbias = lib.new_cell('vbias')
R(vbias, GatPoly, [(9.015,17.53,9.615,17.705)])
R(vbias, Metal1, [(7.235,8.585,7.375,9.185), (9.755,8.585,10.565,9.185), (9.755,8.635,10.41,9.135), (9.24,9.84,9.635,10.8), (9.17,17.67,9.47,17.97), (9.725,18.225,10.46,18.825), (9.725,18.275,10.39,18.775)])
R(vbias, Metal1_pin, [(7.295,8.79,7.495,8.99), (10.225,18.43,10.425,18.63)])
R(vbias, Metal2, [(7.235,8.78,7.985,8.98), (7.13,9.945,7.33,10.695), (7.24,11.51,7.44,12.26)])
R(vbias, Metal2_pin, [(7.13,10.495,7.33,10.695)])
R(vbias, NWell, [(6.875,15.84,8.775,19.16), (8.365,15.84,11.155,19.16)])
vbias.add(gdstk.FlexPath([(7.225,9.97),(7.225,10.36)], 0.16, ends="flush", simple_path=True, layer=8, datatype=0))  # Metal1
vbias.add(gdstk.FlexPath([(8.045,11.52),(8.045,11.52)], 0.16, ends="flush", simple_path=True, layer=8, datatype=0))  # Metal1
vbias.add(gdstk.FlexPath([(7.335,18.23),(7.335,18.825)], 0.16, ends="flush", simple_path=True, layer=8, datatype=0))  # Metal1
vbias.add(gdstk.FlexPath([(8.825,11.78),(8.825,10.245),(7.375,10.245)], 0.16, ends="flush", simple_path=True, layer=8, datatype=0))  # Metal1
vbias.add(gdstk.FlexPath([(7.335,11.455),(7.335,11.78),(7.335,11.78)], 0.16, ends="flush", simple_path=True, layer=8, datatype=0))  # Metal1
vbias.add(gdstk.FlexPath([(8.315,11.78),(8.315,11.44)], 0.16, ends="flush", simple_path=True, layer=8, datatype=0))  # Metal1
vbias.add(gdstk.FlexPath([(7.825,11.52),(8.395,11.52)], 0.16, ends="flush", simple_path=True, layer=8, datatype=0))  # Metal1
vbias.add(gdstk.FlexPath([(9.805,11.78),(9.805,11.615)], 0.16, ends="flush", simple_path=True, layer=8, datatype=0))  # Metal1
vbias.add(gdstk.FlexPath([(9.32,11.52),(9.32,9.84)], 0.16, ends="flush", simple_path=True, layer=8, datatype=0))  # Metal1
vbias.add(gdstk.FlexPath([(8.825,17.35),(8.825,18.23)], 0.16, ends="flush", simple_path=True, layer=8, datatype=0))  # Metal1
vbias.add(gdstk.FlexPath([(9.805,16.15),(9.805,15.56)], 0.16, ends="flush", simple_path=True, layer=8, datatype=0))  # Metal1
vbias.add(gdstk.FlexPath([(9.45,15.64),(9.885,15.64)], 0.16, ends="flush", simple_path=True, layer=8, datatype=0))  # Metal1
vbias.add(gdstk.FlexPath([(9.32,17.81),(9.32,17.81)], 0.16, ends="flush", simple_path=True, layer=8, datatype=0))  # Metal1
vbias.add(gdstk.FlexPath([(7.335,13.52),(7.335,12.98)], 0.16, ends="flush", simple_path=True, layer=8, datatype=0))  # Metal1
vbias.add(gdstk.FlexPath([(7.335,15.38),(7.335,15.72)], 0.16, ends="flush", simple_path=True, layer=8, datatype=0))  # Metal1
vbias.add(gdstk.FlexPath([(7.83,15.64),(7.255,15.64)], 0.16, ends="flush", simple_path=True, layer=8, datatype=0))  # Metal1
vbias.add(gdstk.FlexPath([(8.235,14.45),(7.415,14.45)], 0.16, ends="flush", simple_path=True, layer=8, datatype=0))  # Metal1
vbias.add(gdstk.FlexPath([(8.315,17.525),(8.315,18.23),(8.315,18.23)], 0.16, ends="flush", simple_path=True, layer=8, datatype=0))  # Metal1
vbias.add(gdstk.FlexPath([(7.335,17.525),(7.335,18.23)], 0.16, ends="flush", simple_path=True, layer=8, datatype=0))  # Metal1
vbias.add(gdstk.FlexPath([(7.845,17.81),(7.845,18.23)], 0.16, ends="flush", simple_path=True, layer=8, datatype=0))  # Metal1
vbias.add(gdstk.FlexPath([(7.335,11.66),(7.335,11.66)], 0.2, ends="flush", simple_path=True, layer=10, datatype=0))  # Metal2
vbias.add(gdstk.FlexPath([(8.125,11.52),(8.045,11.52)], 0.2, ends="flush", simple_path=True, layer=10, datatype=0))  # Metal2
vbias.add(gdstk.FlexPath([(7.59,8.88),(7.59,8.88)], 0.2, ends="flush", simple_path=True, layer=10, datatype=0))  # Metal2
vbias.add(gdstk.FlexPath([(7.885,11.52),(9.805,11.52)], 0.2, ends="flush", simple_path=True, layer=10, datatype=0))  # Metal2
vbias.add(gdstk.FlexPath([(9.94,17.81),(9.32,17.81)], 0.2, ends="flush", simple_path=True, layer=10, datatype=0))  # Metal2
vbias.add(gdstk.FlexPath([(7.335,9.485),(7.335,8.78)], 0.2, ends="flush", simple_path=True, layer=30, datatype=0))  # Metal3
vbias.add(gdstk.FlexPath([(7.335,11.475),(7.335,9.48)], 0.2, ends="flush", simple_path=True, layer=30, datatype=0))  # Metal3
vbias.add(gdstk.Reference(via_64, (7.83,15.64)))
vbias.add(gdstk.Reference(via_64, (7.845,17.81)))
vbias.add(gdstk.Reference(pmos_10, (7.185,16.15)))
vbias.add(gdstk.Reference(nmos_18, (7.185,13.52)))
vbias.add(gdstk.Reference(via_1_1, (7.225,10.32), rotation=3*pi/2))
vbias.add(gdstk.Reference(via_27_1, (7.59,8.88)))
vbias.add(gdstk.Reference(via_23_1, (7.59,8.88)))
vbias.add(gdstk.Reference(via_23_1, (7.335,11.66), rotation=3*pi/2))
vbias.add(gdstk.Reference(via_24_2, (7.335,11.66), rotation=3*pi/2))
vbias.add(gdstk.Reference(via_26_1, (9.805,11.765), rotation=3*pi/2))
vbias.add(gdstk.Reference(via_25_1, (8.045,11.52)))
vbias.add(gdstk.Reference(via_64, (7.825,11.52)))
vbias.add(gdstk.Reference(via_64, (9.32,11.52)))
vbias.add(gdstk.Reference(via_64, (9.32,15.64)))
vbias.add(gdstk.Reference(via_64, (9.32,17.81)))
vbias.add(gdstk.Reference(via_25_1, (9.52,17.81)))
vbias.add(gdstk.Reference(ntap1_3, (7.115,18.135)))
vbias.add(gdstk.Reference(pmos_2_1, (8.675,16.15)))
vbias.add(gdstk.Reference(ptap1_5, (7.145,8.495)))
vbias.add(gdstk.Reference(rppd_2, (7.505,10.82), rotation=3*pi/2))
vbias.add(gdstk.Reference(nmos_4_1, (7.185,11.78)))
vbias.add(gdstk.Reference(nmos_5_1, (9.955,15.38), rotation=pi))
vbias.add(gdstk.Reference(curr_source, (8.3,10.915)))
vbias.add(gdstk.Label('gd', (7.395,8.89), layer=8, texttype=25))
vbias.add(gdstk.Label('vp', (10.325,18.53), layer=8, texttype=25))
vbias.add(gdstk.Label('vbias', (7.23,10.595), layer=10, texttype=25))

lib.write_gds('vbias.gds')
